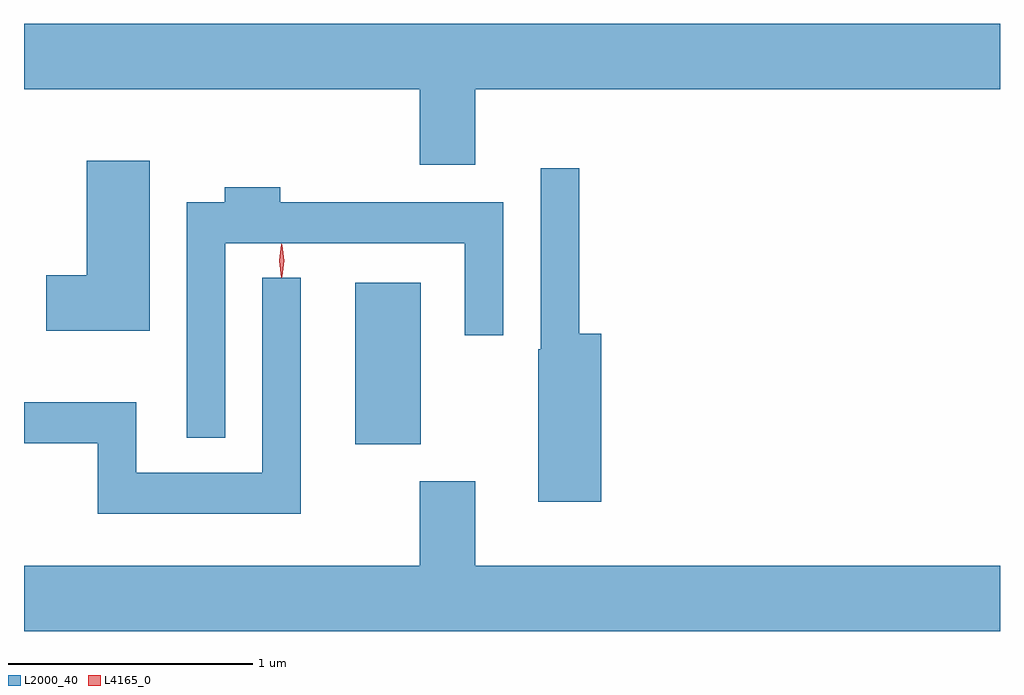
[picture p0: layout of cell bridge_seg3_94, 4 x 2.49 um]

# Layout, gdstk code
import gdstk
lib = gdstk.Library(unit=1e-6, precision=1e-09)
def R(c, l, rs):  # rectangles x0, y0, x1, y1
    for r in rs: c.add(gdstk.rectangle(r[:2], r[2:], *l))
def P(c, l, *ps):  # polygons
    for p in ps: c.add(gdstk.Polygon(p, *l))
L2000_40 = (2000, 40)
L4165_0 = (4165, 0)

bridge_seg3_94 = lib.new_cell('bridge_seg3_94')
R(bridge_seg3_94, L2000_40, [(928.616,1240.001,928.884,1240.664)])
P(bridge_seg3_94, L2000_40, [(929.109,1241.456),(931.259,1241.456),(931.259,1241.724),(927.259,1241.724),(927.259,1241.456),(928.881,1241.456),(928.881,1241.146),(929.109,1241.146)],
  [(927.774,1241.164),(927.516,1241.164),(927.516,1240.694),(927.351,1240.694),(927.351,1240.466),(927.774,1240.466)],
  [(929.624,1240.454),(929.534,1240.454),(929.534,1241.133),(929.376,1241.133),(929.376,1240.39),(929.366,1240.39),(929.366,1239.766),(929.624,1239.766)],
  [(928.084,1240.826),(929.066,1240.826),(929.066,1240.448),(929.224,1240.448),(929.224,1240.994),(928.309,1240.994),(928.309,1241.054),(928.081,1241.054),(928.081,1240.994),(927.926,1240.994),(927.926,1240.028),(928.084,1240.028)],
  [(928.394,1240.683),(928.236,1240.683),(928.236,1239.884),(927.719,1239.884),(927.719,1240.174),(927.259,1240.174),(927.259,1240.006),(927.561,1240.006),(927.561,1239.716),(928.394,1239.716)],
  [(931.259,1239.504),(929.109,1239.504),(929.109,1239.849),(928.881,1239.849),(928.881,1239.504),(927.259,1239.504),(927.259,1239.236),(931.259,1239.236)])
P(bridge_seg3_94, L4165_0, [(928.316,1240.687),(928.316,1240.687),(928.306,1240.754),(928.316,1240.82),(928.316,1240.821),(928.317,1240.82),(928.326,1240.754),(928.317,1240.687)],
  [(928.314,1240.684),(928.305,1240.753),(928.314,1240.822),(928.314,1240.823),(928.315,1240.822),(928.325,1240.753),(928.315,1240.684),(928.315,1240.684)])

lib.write_gds('bridge_seg3_94.gds')
